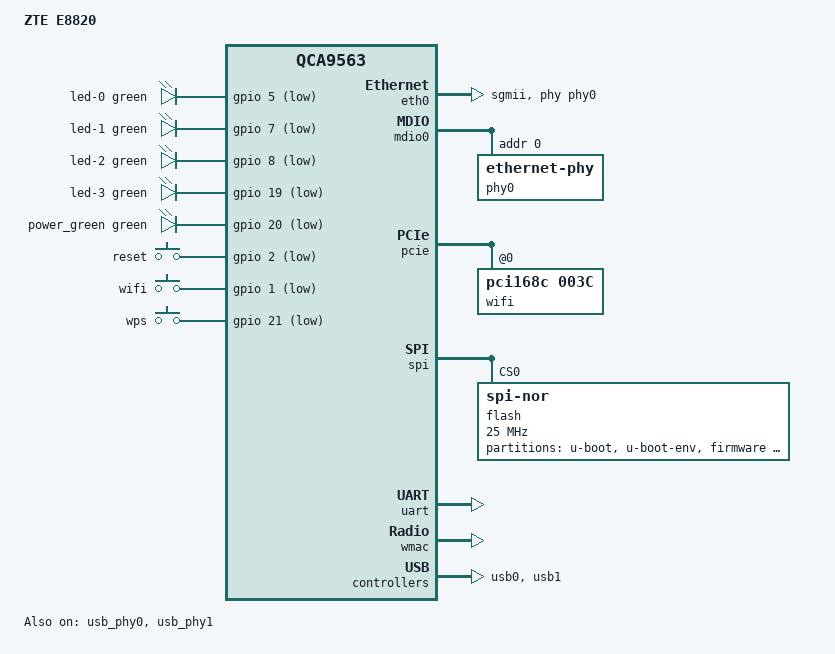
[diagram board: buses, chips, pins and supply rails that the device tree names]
// SPDX-License-Identifier: GPL-2.0-or-later OR MIT
/dts-v1/;

#include <dt-bindings/gpio/gpio.h>
#include <dt-bindings/input/input.h>
#include <dt-bindings/leds/common.h>

#include "qca956x.dtsi"

/ {
	model = "ZTE E8820";
	compatible = "zte,e8820", "qca,qca9563";

	aliases {
		label-mac-device = &eth0;
		led-boot = &power_green;
		led-failsafe = &power_green;
		led-running = &power_green;
		led-upgrade = &power_green;
	};

	leds {
		compatible = "gpio-leds";
		pinctrl-names = "default";
		pinctrl-0 = <&jtag_disable_pins>;

		led-0 {
			color = <LED_COLOR_ID_GREEN>;
			function = LED_FUNCTION_WLAN_5GHZ;
			gpios = <&gpio 5 GPIO_ACTIVE_LOW>;
			linux,default-trigger = "phy0tpt";
		};

		led-1 {
			color = <LED_COLOR_ID_GREEN>;
			function = LED_FUNCTION_USB;
			function-enumerator = <2>;
			gpios = <&gpio 7 GPIO_ACTIVE_LOW>;
			trigger-sources = <&hub_port0>;
			linux,default-trigger = "usbport";
		};

		led-2 {
			color = <LED_COLOR_ID_GREEN>;
			function = LED_FUNCTION_USB;
			function-enumerator = <1>;
			gpios = <&gpio 8 GPIO_ACTIVE_LOW>;
			trigger-sources = <&hub_port1>;
			linux,default-trigger = "usbport";
		};

		led-3 {
			color = <LED_COLOR_ID_GREEN>;
			function = LED_FUNCTION_WLAN_2GHZ;
			gpios = <&gpio 19 GPIO_ACTIVE_LOW>;
			linux,default-trigger = "phy1tpt";
		};

		power_green: led-4 {
			color = <LED_COLOR_ID_GREEN>;
			function = LED_FUNCTION_POWER;
			gpios = <&gpio 20 GPIO_ACTIVE_LOW>;
			default-state = "on";
		};
	};

	keys {
		compatible = "gpio-keys";

		button-reset {
			label = "reset";
			gpios = <&gpio 2 GPIO_ACTIVE_LOW>;
			linux,code = <KEY_RESTART>;
			debounce-interval = <60>;
		};

		button-wifi {
			label = "wifi";
			gpios = <&gpio 1 GPIO_ACTIVE_LOW>;
			linux,code = <KEY_RFKILL>;
			debounce-interval = <60>;
		};

		button-wps {
			label = "wps";
			gpios = <&gpio 21 GPIO_ACTIVE_LOW>;
			linux,code = <KEY_WPS_BUTTON>;
			debounce-interval = <60>;
		};
	};
};

&eth0 {
	nvmem-cells = <&macaddr_art_0 0>;
	nvmem-cell-names = "mac-address";
	
	phy-handle = <&phy0>;
	phy-mode = "sgmii";
	pll-data = <0x03000101 0x00000101 0x00001919>;

	status = "okay";
};

&mdio0 {
	status = "okay";

	phy0: ethernet-phy@0 {
		reg = <0>;

		qca,ar8327-initvals = <
			0x04 0x00000080 /* PORT0 PAD MODE CTRL */
			0x50 0xcc35cc35 /* LED_CTRL0 */
			0x54 0xca35ca35 /* LED_CTRL1 */
			0x58 0xc935c935 /* LED_CTRL2 */
			0x5c 0x03ffff00 /* LED_CTRL3 */
			0x7c 0x0000007e /* PORT0_STATUS */
		>;
	};
};

&pcie {
	status = "okay";

	wifi@0,0 {
		compatible = "pci168c,003c";
		reg = <0x0000 0 0 0 0>;
		nvmem-cells = <&cal_art_5000>, <&macaddr_art_0 1>;
		nvmem-cell-names = "calibration", "mac-address";
	};
};

&spi {
	num-cs = <1>;
	status = "okay";

	flash@0 {
		compatible = "jedec,spi-nor";
		reg = <0>;
		spi-max-frequency = <25000000>;

		partitions {
			compatible = "fixed-partitions";
			#address-cells = <1>;
			#size-cells = <1>;

			partition@0 {
				label = "u-boot";
				reg = <0x000000 0x040000>;
				read-only;
			};

			partition@40000 {
				label = "u-boot-env";
				reg = <0x040000 0x010000>;
			};

			partition@50000 {
				compatible = "denx,uimage";
				label = "firmware";
				reg = <0x050000 0xfa0000>;
			};

			partition@ff0000 {
				label = "art";
				reg = <0xff0000 0x010000>;
				read-only;

				nvmem-layout {
					compatible = "fixed-layout";
					#address-cells = <1>;
					#size-cells = <1>;

					macaddr_art_0: macaddr@0 {
						compatible = "mac-base";
						reg = <0x0 0x6>;
						#nvmem-cell-cells = <1>;
					};

					cal_art_1000: cal@1000 {
						reg = <0x1000 0x440>;
					};

					cal_art_5000: cal@5000 {
						reg = <0x5000 0x844>;
					};
				};
			};
		};
	};
};

&uart {
	status = "okay";
};

&wmac {
	nvmem-cells = <&cal_art_1000>, <&macaddr_art_0 0>;
	nvmem-cell-names = "calibration", "mac-address";
	status = "okay";
};

&usb_phy0 {
	status = "okay";
};

&usb_phy1 {
	status = "okay";
};

&usb0 {
	#address-cells = <1>;
	#size-cells = <0>;
	status = "okay";

	hub_port0: port@1 {
		reg = <1>;
		#trigger-source-cells = <0>;
	};
};

&usb1 {
	#address-cells = <1>;
	#size-cells = <0>;
	status = "okay";

	hub_port1: port@1 {
		reg = <1>;
		#trigger-source-cells = <0>;
	};
};
